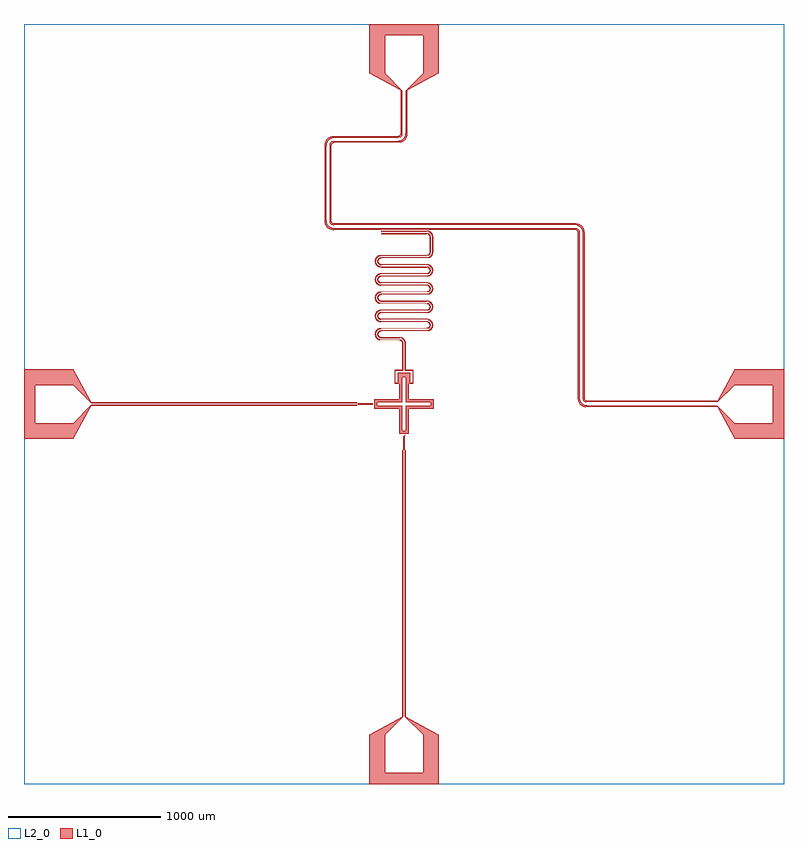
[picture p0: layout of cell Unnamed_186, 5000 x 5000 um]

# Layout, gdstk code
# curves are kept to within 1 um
import gdstk
lib = gdstk.Library(unit=1e-6, precision=1e-09)
def R(c, l, rs):  # rectangles x0, y0, x1, y1
    for r in rs: c.add(gdstk.rectangle(r[:2], r[2:], *l))
def P(c, l, *ps):  # polygons
    for p in ps: c.add(gdstk.Polygon(p, *l))
L1_0 = (1, 0)
L2_0 = (2, 0)

unnamed_186 = lib.new_cell('Unnamed_186')
P(unnamed_186, L1_0, [(-228,-2500),(-228,-2177),(-10,-2057),(-10,-308),(-4,-298),(-5,-211),(-2,-211),(-2,-298),(-5,-308),(-5,-2057),(-125,-2177),(-125,-2427),(125,-2427),(125,-2177),(5,-2057),(5,-308),(2,-298),(2,-207),(-11,-207),(-11,-205),(13,-205),(13,-207),(4,-207),(4,-298),(10,-308),(10,-2057),(228,-2177),(228,-2500)],
  [(-32,-195),(-32,-32),(-195,-32),(-195,32),(-32,32),(-32,175),(-12,175),(-12,12),(-175,12),(-175,-12),(-12,-12),(-12,-175),(12,-175),(12,-12),(175,-12),(175,12),(12,12),(12,175),(-32,175),(-32,195),(32,195),(32,32),(195,32),(195,-32),(32,-32),(32,-195)],
  [(-2500,-228),(-2500,125),(-2427,125),(-2427,-125),(-2177,-125),(-2057,-5),(-312,-5),(-301.5,-2.5),(-208,-2.5),(-208,2.5),(-301.5,2.5),(-312,5),(-2057,5),(-2177,125),(-2500,125),(-2500,228),(-2177,228),(-2057.55,11),(-312,11),(-301.5,5.5),(-205,5.5),(-205,-5.5),(-301.5,-5.5),(-312,-11),(-2057.55,-11),(-2177,-228)],
  [(-61,134),(-61,224),(-11.002,224),(-11.002,398.956),(-12.148,405.498),(-14.525,410.021),(-18.257,413.935),(-22.941,416.639),(-28.196,417.914),(-151.303,418.019),(-159.035,419.006),(-166.441,421.438),(-174.312,425.983),(-180.989,432.15),(-186.143,439.636),(-189.154,446.826),(-190.751,454.455),(-190.751,463.545),(-189.154,471.174),(-185.51,479.501),(-180.121,486.82),(-172.169,493.493),(-162.796,497.954),(-152.602,499.919),(152.403,500.154),(160.269,503.017),(165.816,508.476),(168.708,515.701),(168.31,524.063),(165.816,529.524),(161.742,533.934),(156.496,536.853),(150.601,537.989),(-150.089,538),(-157.762,538.74),(-166.441,541.438),(-174.312,545.983),(-180.989,552.15),(-186.143,559.636),(-189.521,568.074),(-190.957,577.049),(-190.134,587.397),(-187.298,596.033),(-181.825,604.854),(-173.252,612.772),(-164.025,617.529),(-152.602,619.919),(152.403,620.154),(159.757,622.7),(165.474,627.98),(168.594,635.109),(168.594,642.891),(166.451,648.499),(162.666,653.159),(157.059,656.638),(151.203,657.96),(-150.089,658),(-157.762,658.74),(-166.441,661.438),(-174.312,665.983),(-180.989,672.15),(-186.143,679.636),(-189.521,688.074),(-190.957,697.049),(-190.586,704.835),(-188.303,713.633),(-183.401,722.783),(-175.347,731.229),(-166.441,736.562),(-155.192,739.672),(151.203,740.04),(158.704,742.113),(164.744,747.02),(168.31,753.937),(168.708,762.299),(166.451,768.499),(162.666,773.159),(157.059,776.638),(151.203,777.96),(-150.089,778),(-157.762,778.74),(-166.441,781.438),(-173.252,785.228),(-180.121,791.18),(-184.842,797.383),(-188.748,805.59),(-190.751,814.455),(-190.751,823.545),(-189.154,831.174),(-184.139,841.711),(-176.357,850.409),(-166.441,856.562),(-155.192,859.672),(151.203,860.04),(158.704,862.113),(164.744,867.02),(168.31,873.937),(168.803,881.704),(167.021,887.437),(163.109,892.75),(157.615,896.405),(151.203,897.96),(-150.089,898),(-157.762,898.74),(-165.241,900.936),(-172.169,904.507),(-178.296,909.326),(-184.139,916.289),(-187.82,923.159),(-190.38,931.88),(-190.957,940.951),(-189.848,948.666),(-184.842,960.617),(-176.357,970.409),(-166.441,976.562),(-153.899,979.816),(149.954,980),(157.338,981.476),(161.743,984.065),(165.298,987.735),(167.746,992.219),(168.912,997.194),(168.912,1100.806),(167.153,1107.166),(163.326,1112.541),(157.891,1116.283),(151.504,1117.94),(-150.002,1118),(-150.002,1124),(151.584,1123.95),(160.021,1121.903),(167.535,1116.817),(172.571,1109.745),(174.885,1101.376),(174.844,996.229),(173.352,990.078),(170.13,984.177),(165.762,979.596),(160.021,976.097),(150.395,974.003),(-153.329,973.842),(-164.035,971.064),(-172.5,965.812),(-179.743,957.453),(-184.016,947.252),(-184.963,940.665),(-184.471,932.922),(-182.698,926.509),(-179.743,920.547),(-174.947,914.448),(-169.849,910.171),(-164.035,906.936),(-156.626,904.632),(-150.042,904),(151.584,903.949),(160.021,901.902),(167.25,897.093),(172.034,890.806),(174.743,882.558),(174.293,873.106),(169.892,863.86),(162.84,857.551),(153.948,854.315),(-152.222,853.93),(-161.973,851.89),(-171.638,846.512),(-178.513,839.302),(-183.424,829.392),(-184.893,821.774),(-184.787,815.121),(-183.078,807.552),(-179.743,800.547),(-174.947,794.448),(-169.849,790.171),(-164.035,786.936),(-156.626,784.632),(-150.042,784),(151.584,783.949),(159.289,782.209),(166.667,777.631),(171.648,771.5),(174.618,763.341),(174.293,753.106),(170.362,744.499),(163.514,737.969),(153.948,734.315),(-152.222,733.93),(-161.973,731.89),(-170.754,727.185),(-177.854,720.197),(-182.698,711.491),(-184.646,703.981),(-184.893,696.226),(-183.737,689.673),(-180.853,682.47),(-176.454,676.079),(-170.754,670.815),(-164.035,666.936),(-156.626,664.632),(-150.042,664),(151.584,663.949),(159.289,662.209),(166.067,658.151),(171.241,652.18),(174.467,644.12),(174.467,633.88),(170.362,624.499),(162.84,617.551),(153.163,614.202),(-152.222,613.93),(-161.973,611.89),(-169.849,607.829),(-176.454,601.921),(-181.84,593.54),(-184.261,586.168),(-184.998,578.445),(-184.016,570.748),(-181.362,563.457),(-176.454,556.079),(-170.754,550.815),(-164.035,546.936),(-156.626,544.632),(-150.042,544),(151.584,543.949),(159.289,542.209),(165.452,538.651),(170.812,532.848),(174.093,525.662),(174.969,520.19),(174.618,514.659),(170.812,505.152),(163.514,497.969),(158.548,495.508),(153.163,494.202),(-152.222,493.93),(-159.863,492.583),(-167.981,489.03),(-174.947,483.552),(-180.313,476.5),(-183.424,469.392),(-184.893,461.774),(-184.787,455.121),(-183.078,447.552),(-179.743,440.547),(-174.947,434.448),(-168.925,429.556),(-163.01,426.507),(-151.112,424.017),(-26.837,423.799),(-20.343,422.059),(-14.238,418.404),(-9.638,413.501),(-6.51,407.55),(-5.005,399.397),(-5.002,219),(-56,219),(-56,139),(-41,139),(-41,204),(41,204),(41,139),(56,139),(56,219),(4.998,219),(4.994,399.555),(3.073,410.447),(-1.173,418.847),(-7.504,425.812),(-15.462,430.837),(-24.472,433.561),(-149.962,434),(-158.552,435.508),(-163.518,437.969),(-167.819,441.464),(-171.245,445.82),(-173.626,450.824),(-174.847,456.229),(-174.847,461.771),(-173.626,467.176),(-171.245,472.18),(-167.254,477.093),(-162.157,480.846),(-157.045,482.987),(-150.795,483.987),(155.528,484.439),(161.969,486.11),(168.921,489.556),(174.943,494.448),(179.138,499.612),(182.694,506.509),(184.467,512.922),(184.959,520.665),(184.012,527.252),(179.739,537.453),(172.496,545.812),(164.031,551.064),(153.325,553.842),(-153.952,554.315),(-159.293,555.791),(-164.824,558.869),(-168.895,562.629),(-172.038,567.194),(-174.097,572.338),(-174.973,577.81),(-174.622,583.341),(-172.742,589.385),(-168.895,595.371),(-163.518,600.031),(-157.045,602.987),(-150.795,603.987),(155.528,604.439),(161.969,606.11),(167.977,608.97),(173.335,612.915),(178.509,618.698),(181.836,624.46),(184.257,631.832),(184.994,638.445),(184.257,646.168),(180.309,656.5),(173.335,665.085),(164.031,671.064),(153.325,673.842),(-153.952,674.315),(-159.293,675.791),(-164.178,678.409),(-168.366,682.038),(-171.652,686.5),(-173.874,691.577),(-174.923,697.019),(-174.747,702.558),(-173.355,707.922),(-169.896,714.14),(-164.824,719.131),(-158.552,722.492),(-151.588,723.949),(155.528,724.439),(161.969,726.11),(167.977,728.97),(173.335,732.915),(178.509,738.698),(181.836,744.46),(184.257,751.832),(184.994,758.445),(184.467,765.078),(180.849,775.53),(173.335,785.085),(164.031,791.064),(153.325,793.842),(-153.952,794.315),(-163.518,797.969),(-167.819,801.464),(-171.245,805.82),(-174.747,815.442),(-174.923,820.981),(-173.874,826.423),(-170.816,832.848),(-165.456,838.651),(-159.293,842.209),(-151.588,843.949),(155.528,844.439),(161.969,846.11),(167.977,848.97),(173.335,852.915),(178.509,858.698),(181.836,864.46),(184.012,870.748),(184.959,877.335),(184.642,883.981),(181.358,894.543),(174.151,904.331),(165.041,910.603),(153.325,913.842),(-153.952,914.315),(-163.518,917.969),(-170.816,925.152),(-174.622,934.659),(-174.297,944.894),(-171.245,952.18),(-166.071,958.151),(-159.293,962.209),(-151.588,963.949),(150.553,964.004),(157.709,964.86),(164.031,966.936),(171.634,971.488),(177.51,977.364),(182.062,984.967),(184.559,993.47),(184.84,1102.327),(181.601,1114.043),(174.942,1123.552),(165.041,1130.603),(153.877,1133.785),(-150.002,1134),(-150.002,1140),(150.042,1140),(159.031,1138.993),(171.059,1134.178),(180.984,1125.85),(187.815,1114.84),(190.916,1101.6),(190.581,993.165),(188.298,984.368),(184.134,976.289),(178.291,969.327),(171.059,963.822),(161.549,959.66),(150.649,958.005),(-151.207,957.96),(-157.063,956.638),(-162.67,953.159),(-166.455,948.499),(-168.598,942.891),(-168.598,935.109),(-165.12,927.494),(-158.708,922.113),(-151.207,920.04),(156.476,919.486),(168.786,915.443),(179.219,907.761),(186.735,897.207),(190.582,884.835),(190.953,877.049),(189.844,869.334),(187.294,861.967),(183.397,855.217),(178.292,849.326),(172.165,844.507),(164.021,840.471),(156.476,838.514),(-150.605,837.989),(-156.5,836.853),(-161.266,834.299),(-165.478,830.02),(-167.956,825.214),(-168.884,816.894),(-166.146,808.983),(-160.273,803.017),(-151.808,800.087),(156.476,799.486),(168.786,795.443),(179.219,787.761),(186.735,777.207),(190.582,764.835),(190.953,757.049),(189.844,749.334),(187.294,741.967),(183.397,735.217),(178.292,729.326),(172.165,724.507),(164.021,720.471),(156.476,718.514),(-150.605,717.989),(-155.93,717.05),(-160.775,714.649),(-164.748,710.98),(-167.75,705.78),(-168.884,696.894),(-166.146,688.983),(-160.273,683.017),(-151.808,680.087),(156.476,679.486),(167.62,676.021),(178.292,668.674),(186.139,658.364),(190.376,646.12),(190.953,637.049),(189.844,629.334),(187.294,621.967),(183.397,615.217),(178.292,609.326),(172.165,604.507),(164.021,600.471),(156.476,598.514),(-150.605,597.989),(-155.355,597.229),(-160.273,594.983),(-163.958,591.891),(-167.025,587.437),(-168.598,582.891),(-168.979,578.096),(-166.455,569.501),(-160.273,563.017),(-151.808,560.087),(156.476,559.486),(167.62,556.021),(177.336,549.557),(184.838,540.617),(189.844,528.666),(190.953,520.951),(190.376,511.88),(187.816,503.159),(184.135,496.289),(178.292,489.326),(172.165,484.507),(164.021,480.471),(156.476,478.514),(-150.605,477.989),(-159.239,475.602),(-163.113,472.75),(-166.146,469.017),(-168.884,461.106),(-167.75,452.22),(-163.113,445.25),(-155.93,440.95),(-149.915,440),(-22.882,439.377),(-12.38,436.02),(-3.152,429.986),(4.134,421.711),(9.149,411.174),(10.993,399.651),(10.998,224),(61,224),(61,134),(36,134),(36,199),(-36,199),(-36,134)],
  [(2177,-228),(2063.605,-22),(1208.179,-21.928),(1192.058,-20.274),(1178.474,-15.952),(1166.405,-8.537),(1156.523,1.612),(1147.042,20.648),(1144.022,44.768),(1143.999,1117.964),(1141.544,1136.031),(1154.338,1136.031),(1155.96,1122.093),(1156.011,45.899),(1158.349,24.77),(1166.09,8.856),(1174.309,0.511),(1184.233,-5.38),(1195.52,-8.719),(1209.359,-9.953),(2062,-10),(2177,-125),(2427,-125),(2427,125),(2177,125),(2062,10),(1211.679,10.014),(1195.026,11.934),(1184.11,18.52),(1177.846,29.317),(1176.014,45.679),(1176,1117.349),(1174.798,1136.031),(1186.95,1136.031),(1188,1117.36),(1188.005,46.901),(1188.794,35.086),(1191.449,28.379),(1198.596,23.391),(1212.407,22.008),(2063.605,22),(2177,228),(2500,228),(2500,-228)],
  [(1174.798,1136.031),(1168.97,1152.545),(1157.691,1165.489),(1142.985,1173.142),(1123.932,1175.92),(-452.903,1176.004),(-470.39,1177.761),(-481.48,1184.11),(-488.154,1195.317),(-489.994,1212.709),(-489.986,1694.321),(-488.857,1707.856),(-485.379,1716.998),(-480.778,1722.551),(-474.884,1726.538),(-459.167,1729.859),(-43.359,1730.047),(-23.813,1732.618),(-8.856,1740.09),(-1.049,1747.633),(4.59,1756.506),(8.094,1766.519),(9.765,1778.553),(10,2062),(125,2177),(125,2427),(-228,2427),(-228,2500),(228,2500),(228,2177),(22,2063.605),(21.602,1775.808),(19.125,1761.237),(13.993,1748.57),(5.829,1737.26),(-4.461,1728.499),(-20.845,1720.985),(-40.921,1718.111),(-455.27,1717.973),(-467.862,1716.464),(-474.61,1711.539),(-477.192,1704.989),(-477.992,1693.593),(-477.998,1213.654),(-476.981,1200.004),(-473.093,1192.692),(-465.857,1188.987),(-452.346,1188.002),(1124.762,1187.9),(1138.999,1186.457),(1150.92,1183.061),(1161.721,1177.379),(1171.079,1169.534),(1181.584,1154.319),(1186.95,1136.031)],
  [(1141.544,1136.031),(1134.135,1142.371),(1119.099,1143.995),(-455.531,1144.026),(-469.849,1145.023),(-482.32,1147.978),(-493.324,1153.097),(-502.9,1160.32),(-511.501,1170.461),(-517.523,1182.282),(-520.868,1195.418),(-521.983,1211.213),(-521.936,1697.51),(-518.605,1720.534),(-508.944,1739.081),(-500.104,1748.125),(-489.497,1755.01),(-477.397,1759.489),(-463.511,1761.654),(-42.91,1762.069),(-29.307,1764.831),(-25.187,1768.752),(-22.956,1774.283),(-22,2063.605),(-228,2177),(-228,2427),(-125,2427),(-125,2177),(-10,2062),(-10.004,1787.097),(-11.209,1771.832),(-14.422,1763.333),(-20.322,1756.509),(-27.981,1752.275),(-38.109,1750.316),(-458.947,1749.886),(-471.424,1748.54),(-481.925,1745.311),(-491.281,1739.806),(-499.167,1732.098),(-507.191,1716.826),(-509.953,1696.641),(-509.989,1211.899),(-509.144,1198.173),(-506.506,1187.099),(-501.701,1177.397),(-494.962,1169.328),(-486.843,1163.204),(-477.784,1159.113),(-454.101,1156.011),(1122.093,1155.96),(1137.643,1153.853),(1147.89,1147.48),(1154.338,1136.031)])
R(unnamed_186, L2_0, [(-2500,-2500,2500,2500)])

lib.write_gds('Unnamed_186.gds')
